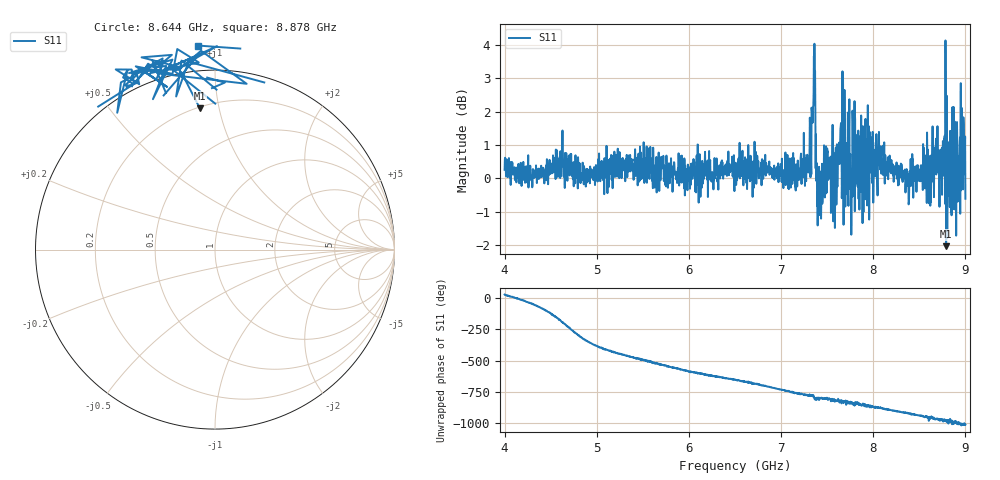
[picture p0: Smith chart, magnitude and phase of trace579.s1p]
! Created with skrf 1.8.0 (http://scikit-rf.org).
# Hz S RI R 50.0
!freq ReS11 ImS11
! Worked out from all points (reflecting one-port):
!   1601 points, 4 GHz to 9 GHz, reference 50 ohm
!   lowest |S11| = -2.0 dB at 8.791 GHz (marker M1), VSWR 8.58, Z = 10.4 + j43.9 ohm
!   phase of S11 starts at 26 deg and turns -1036 deg over the sweep
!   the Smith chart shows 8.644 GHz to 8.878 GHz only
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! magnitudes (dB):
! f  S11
! 4 GHz  0.3
! 4.312 GHz  0.3
! 4.625 GHz  1.0
! 4.916 GHz  -0.1
! 5.25 GHz  0.4
! 5.875 GHz  0.2
! 6.5 GHz  0.2
! 7.125 GHz  0.4
! 7.281 GHz  0.4
! 7.303 GHz  0.3
! 7.353 GHz  2.5
! 7.369 GHz  3.2
! 7.4 GHz  -0.5
! 7.416 GHz  -0.9
! 7.512 GHz  0.5
! 7.588 GHz  -0.1
! 7.65 GHz  1.7
! 7.75 GHz  0.7
! 7.962 GHz  1.4
! 8.375 GHz  -0.1
! 8.566 GHz  -0.2
! 8.6 GHz  0.0
! 8.656 GHz  0.9
! 8.791 GHz  -2.0
! 8.828 GHz  0.7
! 8.919 GHz  0.3
! 8.972 GHz  1.1
! 9 GHz  -0.6
